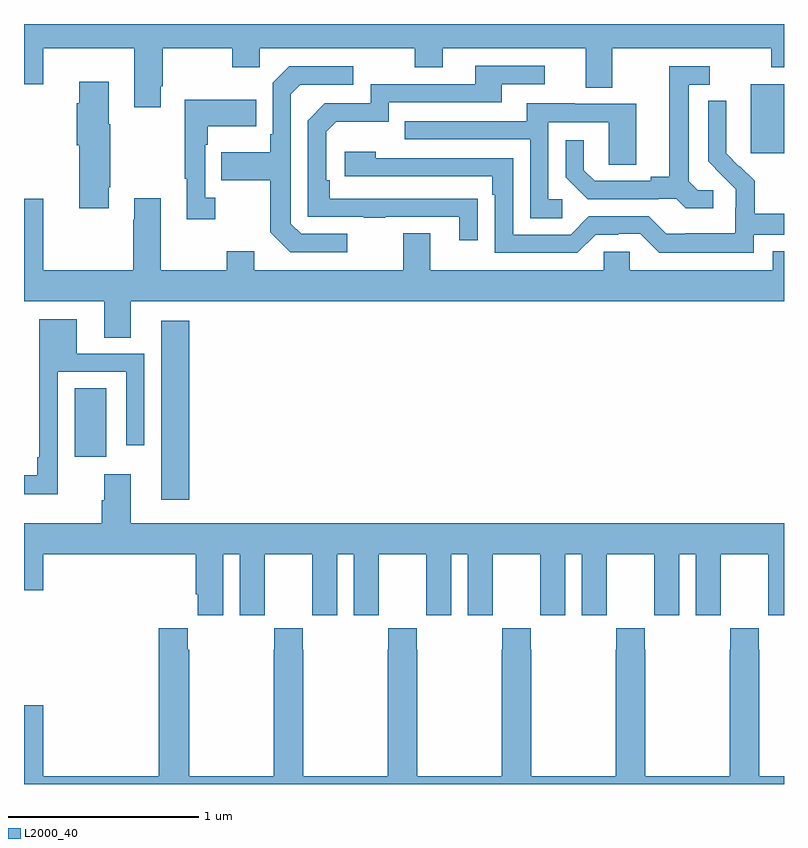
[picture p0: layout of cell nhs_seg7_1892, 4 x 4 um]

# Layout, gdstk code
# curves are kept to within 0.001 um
import gdstk
lib = gdstk.Library(unit=1e-6, precision=1e-09)
def R(c, l, rs):  # rectangles x0, y0, x1, y1
    for r in rs: c.add(gdstk.rectangle(r[:2], r[2:], *l))
def P(c, l, *ps):  # polygons
    for p in ps: c.add(gdstk.Polygon(p, *l))
L2000_40 = (2000, 40)

nhs_seg7_1892 = lib.new_cell('nhs_seg7_1892')
R(nhs_seg7_1892, L2000_40, [(237.722,1075.497,237.869,1076.437), (237.266,1075.722,237.433,1076.084), (240.824,1077.321,241,1077.682)])
P(nhs_seg7_1892, L2000_40, [(237,1077.684),(237.1,1077.684),(237.1,1077.872),(237.581,1077.872),(237.581,1077.561),(237.721,1077.561),(237.721,1077.673),(237.729,1077.673),(237.729,1077.872),(238.096,1077.872),(238.096,1077.773),(238.242,1077.773),(238.242,1077.872),(239.056,1077.872),(239.056,1077.773),(239.203,1077.773),(239.203,1077.872),(239.957,1077.872),(239.957,1077.664),(240.097,1077.664),(240.097,1077.872),(240.934,1077.872),(240.934,1077.773),(241,1077.773),(241,1078),(237,1078)],
  [(239.387,1077.08),(238.61,1077.081),(238.61,1077.178),(238.59,1077.178),(238.59,1077.432),(238.643,1077.485),(238.92,1077.485),(238.92,1077.588),(239.515,1077.588),(239.515,1077.684),(239.74,1077.684),(239.74,1077.78),(239.375,1077.78),(239.375,1077.684),(238.824,1077.684),(238.824,1077.582),(238.584,1077.582),(238.494,1077.492),(238.494,1076.985),(238.789,1076.985),(238.789,1076.98),(238.901,1076.98),(238.901,1076.985),(239.291,1076.985),(239.291,1076.862),(239.387,1076.862)],
  [(238.702,1076.895),(238.458,1076.895),(238.404,1076.949),(238.404,1077.63),(238.455,1077.681),(238.732,1077.681),(238.732,1077.777),(238.395,1077.777),(238.308,1077.69),(238.308,1077.421),(238.296,1077.421),(238.296,1077.325),(238.039,1077.325),(238.039,1077.178),(238.296,1077.178),(238.296,1076.905),(238.401,1076.799),(238.702,1076.799)],
  [(240.628,1077.126),(240.546,1077.126),(240.499,1077.173),(240.499,1077.681),(240.61,1077.681),(240.61,1077.777),(240.395,1077.777),(240.395,1077.197),(240.299,1077.197),(240.299,1077.174),(240.004,1077.174),(239.947,1077.231),(239.947,1077.388),(239.85,1077.388),(239.85,1077.194),(239.966,1077.078),(240.338,1077.078),(240.338,1077.081),(240.432,1077.081),(240.484,1077.029),(240.628,1077.029)],
  [(237.445,1077.142),(237.453,1077.142),(237.453,1077.473),(237.445,1077.473),(237.445,1077.697),(237.29,1077.697),(237.29,1077.584),(237.278,1077.584),(237.278,1077.363),(237.29,1077.363),(237.29,1077.03),(237.445,1077.03)],
  [(238.006,1077.086),(237.954,1077.086),(237.954,1077.365),(237.967,1077.365),(237.967,1077.461),(238.223,1077.461),(238.223,1077.601),(237.846,1077.601),(237.846,1077.185),(237.857,1077.185),(237.857,1076.973),(238.006,1076.973)],
  [(240.84,1076.892),(241,1076.892),(241,1077.001),(240.845,1077.001),(240.845,1077.175),(240.768,1077.252),(240.765,1077.249),(240.695,1077.32),(240.696,1077.596),(240.6,1077.596),(240.6,1077.278),(240.746,1077.13),(240.746,1077.033),(240.744,1077.033),(240.744,1076.899),(240.481,1076.899),(240.481,1076.895),(240.381,1076.895),(240.288,1076.988),(239.973,1076.988),(239.877,1076.892),(239.574,1076.892),(239.574,1077.294),(238.85,1077.294),(238.85,1077.328),(238.689,1077.328),(238.689,1077.198),(239.465,1077.198),(239.465,1077.101),(239.478,1077.101),(239.478,1076.796),(239.913,1076.796),(240.009,1076.892),(240.128,1076.892),(240.128,1076.895),(240.243,1076.895),(240.343,1076.795),(240.84,1076.795)],
  [(239.833,1077.078),(239.76,1077.078),(239.76,1077.483),(240.078,1077.483),(240.078,1077.259),(240.223,1077.259),(240.223,1077.579),(239.899,1077.579),(239.899,1077.583),(239.645,1077.583),(239.645,1077.489),(239.005,1077.489),(239.005,1077.393),(239.664,1077.393),(239.664,1076.977),(239.833,1076.977)],
  [(237.562,1076.54),(241,1076.54),(241,1076.803),(240.941,1076.803),(240.941,1076.704),(240.189,1076.704),(240.189,1076.802),(240.051,1076.802),(240.051,1076.704),(239.137,1076.704),(239.137,1076.899),(238.997,1076.899),(238.997,1076.704),(238.213,1076.704),(238.213,1076.803),(238.066,1076.803),(238.066,1076.704),(237.721,1076.704),(237.721,1077.082),(237.581,1077.082),(237.581,1076.969),(237.574,1076.969),(237.574,1076.704),(237.1,1076.704),(237.1,1077.079),(237,1077.079),(237,1076.54),(237.422,1076.54),(237.422,1076.35),(237.562,1076.35)],
  [(237.177,1076.169),(237.537,1076.169),(237.537,1075.782),(237.633,1075.782),(237.633,1076.265),(237.277,1076.265),(237.277,1076.446),(237.081,1076.446),(237.081,1075.72),(237.069,1075.72),(237.069,1075.624),(237,1075.624),(237,1075.526),(237.177,1075.526)],
  [(238.048,1075.208),(238.136,1075.208),(238.136,1074.888),(238.266,1074.888),(238.266,1075),(238.267,1075),(238.267,1075.208),(238.517,1075.208),(238.517,1075),(238.518,1075),(238.518,1074.888),(238.648,1074.888),(238.648,1075.208),(238.736,1075.208),(238.736,1074.888),(238.866,1074.888),(238.866,1075),(238.867,1075),(238.867,1075.208),(239.117,1075.208),(239.117,1075),(239.118,1075),(239.118,1074.888),(239.248,1074.888),(239.248,1075.208),(239.336,1075.208),(239.336,1074.888),(239.466,1074.888),(239.466,1075),(239.467,1075),(239.467,1075.208),(239.717,1075.208),(239.717,1075),(239.718,1075),(239.718,1074.888),(239.848,1074.888),(239.848,1075.208),(239.936,1075.208),(239.936,1074.888),(240.066,1074.888),(240.066,1075),(240.067,1075),(240.067,1075.208),(240.317,1075.208),(240.317,1075),(240.318,1075),(240.318,1074.888),(240.448,1074.888),(240.448,1075.208),(240.536,1075.208),(240.536,1074.888),(240.666,1074.888),(240.666,1075),(240.667,1075),(240.667,1075.208),(240.917,1075.208),(240.917,1075),(240.918,1075),(240.918,1074.888),(241,1074.888),(241,1075.372),(237.562,1075.372),(237.562,1075.63),(237.422,1075.63),(237.422,1075.493),(237.41,1075.493),(237.41,1075.372),(237,1075.372),(237,1075.02),(237.1,1075.02),(237.1,1075.208),(237.905,1075.208),(237.905,1075),(237.914,1075),(237.914,1074.888),(238.048,1074.888)],
  [(241,1074.04),(240.87,1074.04),(240.87,1074.707),(240.867,1074.707),(240.867,1074.82),(240.717,1074.82),(240.717,1074.707),(240.715,1074.707),(240.715,1074.04),(240.27,1074.04),(240.27,1074.707),(240.267,1074.707),(240.267,1074.82),(240.117,1074.82),(240.117,1074.707),(240.115,1074.707),(240.115,1074.04),(239.67,1074.04),(239.67,1074.707),(239.667,1074.707),(239.667,1074.82),(239.517,1074.82),(239.517,1074.707),(239.515,1074.707),(239.515,1074.04),(239.07,1074.04),(239.07,1074.707),(239.067,1074.707),(239.067,1074.82),(238.917,1074.82),(238.917,1074.707),(238.915,1074.707),(238.915,1074.04),(238.47,1074.04),(238.47,1074.707),(238.467,1074.707),(238.467,1074.82),(238.317,1074.82),(238.317,1074.707),(238.315,1074.707),(238.315,1074.04),(237.87,1074.04),(237.87,1074.707),(237.863,1074.707),(237.863,1074.82),(237.71,1074.82),(237.71,1074.04),(237.1,1074.04),(237.1,1074.415),(237,1074.415),(237,1074),(241,1074)])

lib.write_gds('nhs_seg7_1892.gds')
